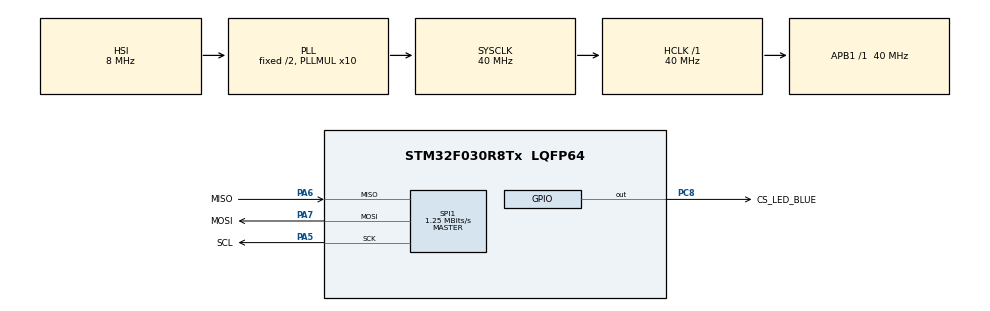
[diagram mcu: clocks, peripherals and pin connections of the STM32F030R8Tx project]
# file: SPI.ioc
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Mcu.Family=STM32F0
Mcu.Name=STM32F030R8Tx
Mcu.Package=LQFP64
PA5.GPIO_Label=SCL
PA5.Mode=Full_Duplex_Master
PA5.Signal=SPI1_SCK
PA6.GPIO_Label=MISO
PA6.Mode=Full_Duplex_Master
PA6.Signal=SPI1_MISO
PA7.GPIO_Label=MOSI
PA7.Mode=Full_Duplex_Master
PA7.Signal=SPI1_MOSI
PC8.GPIO_Label=CS_LED_BLUE
PC8.GPIO_PuPd=GPIO_NOPULL
PC8.PinState=GPIO_PIN_RESET
PC8.Signal=GPIO_Output
PF0-OSC_IN.Mode=HSE-External-Oscillator
PF0-OSC_IN.Signal=RCC_OSC_IN
PF1-OSC_OUT.Mode=HSE-External-Oscillator
PF1-OSC_OUT.Signal=RCC_OSC_OUT
ProjectManager.HeapSize=0x200
ProjectManager.StackSize=0x400
ProjectManager.TargetToolchain=MDK-ARM V5
RCC.AHBFreq_Value=40000000
RCC.APB1Freq_Value=40000000
RCC.APB1TimFreq_Value=40000000
RCC.HCLKFreq_Value=40000000
RCC.PLLMUL=RCC_PLL_MUL10
RCC.SYSCLKFreq_VALUE=40000000
RCC.SYSCLKSource=RCC_SYSCLKSOURCE_PLLCLK
SPI1.BaudRatePrescaler=SPI_BAUDRATEPRESCALER_32
SPI1.CLKPhase=SPI_PHASE_2EDGE
SPI1.CLKPolarity=SPI_POLARITY_HIGH
SPI1.CalculateBaudRate=1.25 MBits/s
SPI1.DataSize=SPI_DATASIZE_8BIT
SPI1.Direction=SPI_DIRECTION_2LINES
SPI1.Mode=SPI_MODE_MASTER
SPI1.VirtualType=VM_MASTER
board=custom

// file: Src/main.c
/* USER CODE BEGIN Header */
/**
  ******************************************************************************
  * @file           : main.c
  * @brief          : Main program body
  ******************************************************************************
  * @attention
  *
  * <h2><center>&copy; Copyright (c) 2019 STMicroelectronics.
  * All rights reserved.</center></h2>
  *
  * This software component is licensed by ST under BSD 3-Clause license,
  * the "License"; You may not use this file except in compliance with the
  * License. You may obtain a copy of the License at:
  *                        opensource.org/licenses/BSD-3-Clause
  *
  ******************************************************************************
  */
/* USER CODE END Header */

#include "main.h"
#include "spi.h"
#include "gpio.h"

void SystemClock_Config(void);

/* USER CODE BEGIN 0 */
uint8_t data_rec[6]; //rcv buffer
int16_t x,y,z;
float xg, yg, zg;

void adxl_write (uint8_t address, uint8_t value)
{
		uint8_t data[2];
		data[0] = address | 0x40;		//multibyte write enabled
		data[1] = value;
		// pull the ds pin low to enable the slave
		HAL_GPIO_WritePin(CS_LED_BLUE_GPIO_Port, CS_LED_BLUE_Pin, GPIO_PIN_RESET);
		// transmit the address and data
		HAL_SPI_Transmit(&hspi1, data, 2, 100);
		// pull the cs pin high to disable the slave
		HAL_GPIO_WritePin(CS_LED_BLUE_GPIO_Port, CS_LED_BLUE_Pin, GPIO_PIN_SET);

}

void adxl_read(uint8_t address)
{
		address |= 0x80; //read operation
		address |= 0x40; // multibyte read

		// pull the ds pin low to enable the slave
		HAL_GPIO_WritePin(CS_LED_BLUE_GPIO_Port, CS_LED_BLUE_Pin, GPIO_PIN_RESET);
		// send the address from where you want to read data
		HAL_SPI_Transmit (&hspi1, &address, 1, 100);
		// read 6 BYTES of data
		HAL_SPI_Receive (&hspi1, data_rec, 6, 100);
	  // pull the cs pin high to dsiable the slave
		HAL_GPIO_WritePin(CS_LED_BLUE_GPIO_Port, CS_LED_BLUE_Pin, GPIO_PIN_SET);

}

void adxl_int(void)
{
	adxl_write(0x31, 0x01);// data_format range = +/- 4g
	adxl_write(0x2d, 0x00); // reset all bits
	adxl_write(0x2d, 0x08); //pwr_cntl measure and wakeup 8bi
}
/* USER CODE END 0 */

int main(void)
{

  /* MCU Configuration--------------------------------------------------------*/

  /* Reset of all peripherals, Initializes the Flash interface and the Systick. */
  HAL_Init();

  /* Configure the system clock */
  SystemClock_Config();

  /* Initialize all configured peripherals */
  MX_GPIO_Init();
  MX_SPI1_Init();
  /* USER CODE BEGIN 2 */

	adxl_int();

  /* USER CODE END 2 */

  /* Infinite loop */
  while (1)
  {

    /* USER CODE BEGIN 3 */
			// READ DATA
			adxl_read(0x32);
			x = ((data_rec[1])|data_rec[0]);
			y = ((data_rec[3])|data_rec[2]);
			z = ((data_rec[5])|data_rec[4]);
			// Convert to 'g'
			xg = x *.0078;
			yg = y *.0078;
			zg = z *.0078;

  }
  /* USER CODE END 3 */
}

void SystemClock_Config(void)
{
  RCC_OscInitTypeDef RCC_OscInitStruct = {0};
  RCC_ClkInitTypeDef RCC_ClkInitStruct = {0};

  /** Initializes the CPU, AHB and APB busses clocks
  */
  RCC_OscInitStruct.OscillatorType = RCC_OSCILLATORTYPE_HSI;
  RCC_OscInitStruct.HSIState = RCC_HSI_ON;
  RCC_OscInitStruct.HSICalibrationValue = RCC_HSICALIBRATION_DEFAULT;
  RCC_OscInitStruct.PLL.PLLState = RCC_PLL_ON;
  RCC_OscInitStruct.PLL.PLLSource = RCC_PLLSOURCE_HSI;
  RCC_OscInitStruct.PLL.PLLMUL = RCC_PLL_MUL10;
  RCC_OscInitStruct.PLL.PREDIV = RCC_PREDIV_DIV1;
  if (HAL_RCC_OscConfig(&RCC_OscInitStruct) != HAL_OK)
  {
    Error_Handler();
  }
  /** Initializes the CPU, AHB and APB busses clocks
  */
  RCC_ClkInitStruct.ClockType = RCC_CLOCKTYPE_HCLK|RCC_CLOCKTYPE_SYSCLK
                              |RCC_CLOCKTYPE_PCLK1;
  RCC_ClkInitStruct.SYSCLKSource = RCC_SYSCLKSOURCE_PLLCLK;
  RCC_ClkInitStruct.AHBCLKDivider = RCC_SYSCLK_DIV1;
  RCC_ClkInitStruct.APB1CLKDivider = RCC_HCLK_DIV1;

  if (HAL_RCC_ClockConfig(&RCC_ClkInitStruct, FLASH_LATENCY_1) != HAL_OK)
  {
    Error_Handler();
  }
}

void Error_Handler(void)
{
}

/************************ (C) COPYRIGHT STMicroelectronics *****END OF FILE****/
